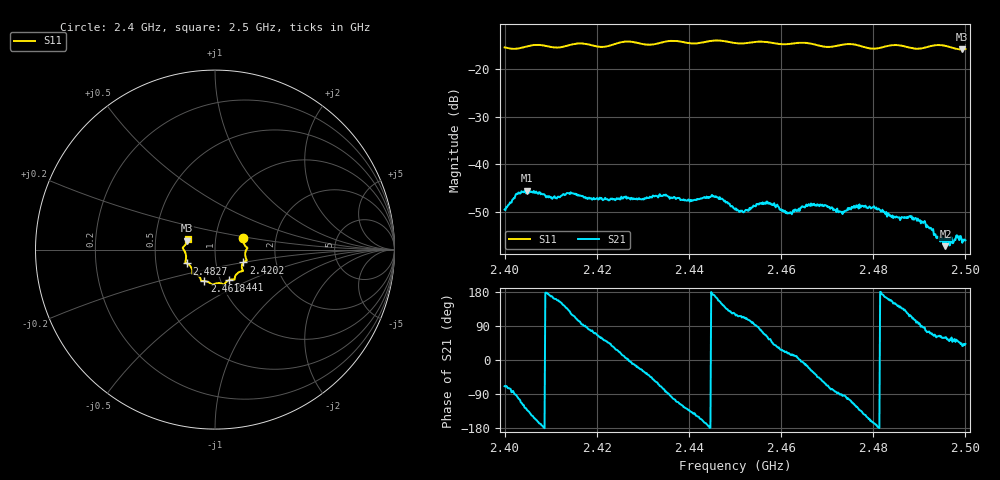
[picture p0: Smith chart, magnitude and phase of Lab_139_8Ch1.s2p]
# Hz S RI R 50
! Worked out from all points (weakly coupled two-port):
!   601 points, 2.4 GHz to 2.5 GHz, reference 50 ohm
!   highest |S21| = -45.58 dB at 2.4048 GHz (marker M1); lowest = -57.3 dB at 2.4957 GHz (marker M2)
!   lowest |S11| = -15.8 dB at 2.4992 GHz (marker M3), VSWR 1.39, Z = 36.5 + j3.66 ohm
!   |S11| at or under -10 dB: start of sweep to end of sweep
!   S12 and S22 are empty: the file has one direction only
!   S11 on the Smith chart (normalised r, x): 2.4 GHz: 1.36, +0.18; 2.4202 GHz: 1.36, -0.20; 2.441 GHz: 1.10, -0.39; 2.4618 GHz: 0.84, -0.30; 2.4827 GHz: 0.72, -0.12; 2.5 GHz: 0.73, +0.09
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2.4e9  0.1584 0.0626  0.00118 -0.00311  0 0  0 0
2.402833e9  0.1629 0.0296  -0.000691 -0.00479  0 0  0 0
2.404833e9  0.174 0.0147  -0.00349 -0.00394  0 0  0 0
2.410833e9  0.1695 -0.0147  -0.00436 0.00147  0 0  0 0
2.416667e9  0.1775 -0.0606  -0.00035 0.00459  0 0  0 0
2.420167e9  0.1584 -0.0716  0.00187 0.00398  0 0  0 0
2.433333e9  0.1116 -0.1509  0.00196 -0.00401  0 0  0 0
2.441e9  0.0785 -0.1699  -0.00329 -0.00258  0 0  0 0
2.4455e9  0.0512 -0.1943  -0.00447 0.000688  0 0  0 0
2.45e9  0.0283 -0.1872  -0.00171 0.00286  0 0  0 0
2.4515e9  0.0129 -0.187  -0.00122 0.00301  0 0  0 0
2.457333e9  -0.0209 -0.1914  0.00228 0.0032  0 0  0 0
2.461833e9  -0.0592 -0.1756  0.00294 0.000855  0 0  0 0
2.466667e9  -0.0786 -0.1683  0.00323 -0.00173  0 0  0 0
2.473e9  -0.12 -0.1347  -4.51e-06 -0.00316  0 0  0 0
2.477833e9  -0.1268 -0.117  -0.00285 -0.00222  0 0  0 0
2.482667e9  -0.1562 -0.0773  -0.00288 0.000727  0 0  0 0
2.483333e9  -0.1602 -0.0754  -0.00281 0.00107  0 0  0 0
2.489667e9  -0.1623 -0.0281  -0.000458 0.00263  0 0  0 0
2.495667e9  -0.1761 0.015  0.000679 0.00119  0 0  0 0
2.499167e9  -0.1546 0.0489  0.00117 0.00112  0 0  0 0
2.5e9  -0.1521 0.0606  0.00117 0.00106  0 0  0 0
